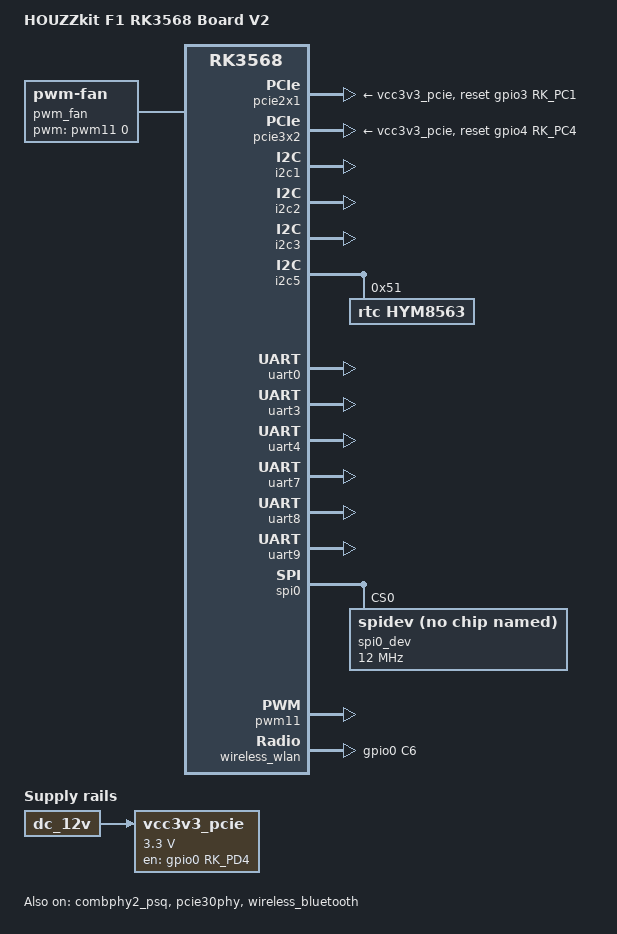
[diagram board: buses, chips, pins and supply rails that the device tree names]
// SPDX-License-Identifier: (GPL-2.0+ OR MIT)
/*
 * Copyright (c) 2020 Rockchip Electronics Co., Ltd.
 *
 */

/dts-v1/;

//rk3568-evb1-ddr4-v10
//#include "rk3568-evb1-ddr4-v10.dtsi"

#include "rk3568-evb-rpdzkj-rk809.dtsi"


#include "rk3568-linux.dtsi"

/*************************camera***********************/
#include "rp-mipi-camera-gc2093-rk3568.dtsi"
//#include "rp-mipi-camera-gc2093-imx334-imx415-rk3568.dtsi"
//#include "rp-mipi-camera-imx219-rk3568.dtsi"

/***************************************************/


/*************************adc key***********************/
#include "rp-adc-key.dtsi"
/***************************************************/

/*************************gmac***********************/
#include "rp-gmac0-pro-rk3568.dtsi"
#include "rp-gmac1-m1-pro-rk3568.dtsi"
/***************************************************/

/*************************SATA***********************/
//#include "rk3568-sata2.dtsi"
/***************************************************/


/* PCIE */
//#include "rk3568-pcie2x1.dtsi"
//#include "rk3568-pcie3x2.dtsi"

/***************** SINGLE LCD (LCD + HDMI) ****************/
//#include "rp-rk3568-single-lcd-gpio.dtsi"	// if use lcd, must enable it
/* HDMI */
#include "rp-lcd-hdmi.dtsi"

/* MIPI DSI0 */
//#include "rp-lcd-mipi0-5-720-1280.dtsi"
//#include "rp-lcd-mipi0-5-720-1280-v2.dtsi"
//#include "rp-lcd-mipi0-5-720-1280-v2-boxTP.dtsi"
//#include "rp-lcd-mipi0-5.5-720-1280.dtsi"
//#include "rp-lcd-mipi0-5.5-720-1280-v2.dtsi"
//#include "rp-lcd-mipi0-5.5-1080-1920.dtsi"
//#include "rp-lcd-mipi0-7-1024-600.dtsi"
//#include "rp-lcd-mipi0-7-1200-1920.dtsi"
//#include  "rp-lcd-mipi0-7-720-1280.dtsi"
//#include "rp-lcd-mipi0-8-800-1280-v2.dtsi"
//#include "rp-lcd-mipi0-8-800-1280-v3.dtsi"
//#include "rp-lcd-mipi0-8-1200-1920.dtsi"
//#include "rp-lcd-mipi0-10-800-1280.dtsi"
//#include "rp-lcd-mipi0-10-800-1280-v2.dtsi"
//#include "rp-lcd-mipi0-10-800-1280-v3.dtsi"
//#include "rp-lcd-mipi0-10-1920-1200.dtsi"
//#include "rp-lcd-mipi0-10-1200-1920.dtsi"

/* LVDS */
//#include "rp-lcd-lvds-7-1024-600-v2.dtsi"
//#include "rp-lcd-lvds-10-1024-600.dtsi"
//#include "rp-lcd-lvds-10-1280-800.dtsi"

/* EDP */
//#include "rp-lcd-edp-13-1920-1080.dtsi"
//#include "rp-lcd-edp-13.3-15.6-1920-1080.dtsi"

/************************ DUAL LCD *********************/
/* EDP + MIPI0 */
//#include "rp-lcd-dual-mipi0-7-1024-600-edp-13-1920-1080.dtsi"


/********************** TRIPLE LCD ********************/
/* EDP + LVDS + HDMI */
//#include "rp-lcd-triple-lvds-10-1024-600-edp-13-1920-1080-hdmi.dtsi"




/{
	model = "HOUZZkit F1 RK3568 Board V2";
	compatible = "rpdzkj,rp-rk3568-v10", "rockchip,rk3568";
	

        
        rp_power{
                status = "okay";
                compatible = "rp_power";
                rp_not_deep_sleep = <1>;

//#define GPIO_FUNCTION_OUTPUT 0
//#define GPIO_FUNCTION_INPUT 1
//#define GPIO_FUNCTION_IRQ 2
//#define GPIO_FUNCTION_FLASH 3
//#define GPIO_FUNCTION_OUTPUT_CTRL 4

/******* SYSTEM POWER **********/
                pwr_5v_3v3 {       //vdd5v vdd3v3 en
                        gpio_num = <&gpio3 RK_PB5 GPIO_ACTIVE_HIGH>;
                        gpio_function = <0>;
                };
                led {	//system led
                        gpio_num = <&gpio0 RK_PC2 GPIO_ACTIVE_HIGH>;
                        gpio_function = <4>;
                };
                fan {	//fan
                        gpio_num = <&gpio0 RK_PD6 GPIO_ACTIVE_HIGH>;
                        gpio_function = <4>;
                };
				usb_pwr {       //usb  power
                        gpio_num = <&gpio0 RK_PA6 GPIO_ACTIVE_HIGH>;
                        gpio_function = <4>;
                };
/*
                hub_rst {       //hub reset
                        gpio_num = <&gpio2 RK_PD7 GPIO_ACTIVE_HIGH>;
                        gpio_function = <4>;
                };
                otg_mode {       //OTG SWITCH, high is mean otg_id to 0, foece host mode
                        gpio_num = <&gpio2 RK_PD6 GPIO_ACTIVE_LOW>;
                        gpio_function = <4>;
                };
                otg_power {       //OTG power
                        gpio_num = <&gpio2 RK_PD4 GPIO_ACTIVE_HIGH>;
                        gpio_function = <4>;
                };
*/
                spk_en {       //spk enable
                        gpio_num = <&gpio3 RK_PA6 GPIO_ACTIVE_HIGH>;
                        gpio_function = <4>;
                };
                spk_mute {       //spk mute
                        gpio_num = <&gpio3 RK_PA3 GPIO_ACTIVE_LOW>;
                        gpio_function = <4>;
                };
			
	wifi_pwr {       //wifi_pwr
                        gpio_num = <&gpio0 RK_PA0 GPIO_ACTIVE_HIGH>;
                        gpio_function = <4>;
                };
                
        };



        rp_gpio{
                status = "okay";
                compatible = "rp_gpio";

        };
		
		
		pwm_fan: pwm-fan {
			compatible = "pwm-fan";
			#cooling-cells = <2>;
			pwms = <&pwm11 0 100000 0>;
			cooling-levels = <
				0 25 50 75 100 125
				150 175 200 225 255>;
			rockchip,temp-trips = <
				37500   1
				40000   2
				42500   3
				45000   4
				47500   5
				50000   6
				52500   7
				55000   9
				57500   9
				60000   10
			>;
		};
		
		

	
	vcc3v3_pcie: gpio-regulator {
		compatible = "regulator-fixed";
		regulator-name = "vcc3v3_pcie";
		regulator-min-microvolt = <3300000>;
		regulator-max-microvolt = <3300000>;
		enable-active-high;
		gpio = <&gpio0 RK_PD4 GPIO_ACTIVE_HIGH>;
		startup-delay-us = <5000>;
		vin-supply = <&dc_12v>;
		regulator-always-on;
		regulator-boot-on;
	};



};

/* MULTI_PHY2 For PCIe2.0 */
&combphy2_psq {
	status = "okay";
};

/* Mini PCIe */
&pcie2x1 {
	reset-gpios = <&gpio3 RK_PC1 GPIO_ACTIVE_HIGH>;
	disable-gpios = <&gpio3 RK_PC2 GPIO_ACTIVE_HIGH>;
	vpcie3v3-supply = <&vcc3v3_pcie>;
	status = "okay";
};

&pcie30phy {
	status = "okay";
};

&pcie3x2 {
	reset-gpios = <&gpio4 RK_PC4 GPIO_ACTIVE_HIGH>;
	vpcie3v3-supply = <&vcc3v3_pcie>;
	//num-lanes = <2>;
	pinctrl-0 = <&pcie30x2m2_pins>; 
	status = "okay";
};


&pmu_io_domains {
        status = "okay";
        pmuio2-supply = <&vcc3v3_pmu>;
        vccio1-supply = <&vccio_acodec>;
        vccio3-supply = <&vccio_sd>;
        vccio4-supply = <&vcc_1v8>;
        vccio5-supply = <&vcc_3v3>;
        vccio6-supply = <&vcc_1v8>;
        vccio7-supply = <&vcc_3v3>;
};


&i2c1 {
	status = "okay";
};


&i2c2 {
	status = "okay";
};
&i2c3 {
	status = "okay";
};


&i2c5 {
	status = "okay";
        rtc@51 {
                status = "okay";
                compatible = "rtc,hym8563";
                reg = <0x51>;
        };
};


&uart0 {
	status = "okay";
};
/*
&uart2 {
	status = "okay";
};
*/


&uart3 {
	status = "okay";
	pinctrl-names = "default";
	pinctrl-0 = <&uart3m1_xfer>;
};

&uart4 {
	status = "okay";
	pinctrl-names = "default";
	pinctrl-0 = <&uart4m1_xfer>;
};

&uart7 {
	status = "okay";
	pinctrl-names = "default";
	pinctrl-0 = <&uart7m1_xfer>;
};

&uart8 {
	status = "okay";
	pinctrl-names = "default";
	pinctrl-0 = <&uart8m0_xfer &uart8m0_ctsn>;
};

&uart9 {
	status = "okay";
	pinctrl-names = "default";
	pinctrl-0 = <&uart9m1_xfer>;
};


&spi0 {
	status = "okay";

    spi0_dev@0 {
        compatible = "rockchip,spidev";
        reg = <0>;
        spi-max-frequency = <12000000>;
        spi-lsb-first;
    };
};

&spi1 {
	status = "disabled";
};


/******** must be close,if not system no run ******/
&dmc {
       status = "disabled";
};

&dfi {
       status = "disabled";
};
/*********************************************/


&pwm7 {
    /****** disable for gpio used to be spi0_cs0 */
    status = "disabled";
};

&pwm11 {
    /****** disable for gpio used to be spi0_cs0 */
    status = "okay";
};



/*************************wifi bt***********************/
&wireless_wlan {
	pinctrl-names = "default";
	pinctrl-0 = <&wifi_host_wake_irq>;
	WIFI,host_wake_irq = <&gpio3 RK_PD4 GPIO_ACTIVE_HIGH>;
};


&wireless_bluetooth {
	BT,reset_gpio    = <&gpio4 RK_PC4 GPIO_ACTIVE_HIGH>;
	BT,wake_gpio     = <&gpio4 RK_PB4 GPIO_ACTIVE_HIGH>;
  	BT,wake_host_irq = <&gpio4 RK_PB5 GPIO_ACTIVE_HIGH>;
	status = "okay";
};

/******************************************************/


&rk_headset {
	pinctrl-names = "default";
	pinctrl-0 = <&hp_det>;
	headset_gpio = <&gpio3 RK_PC2 GPIO_ACTIVE_HIGH>;
};




/****** rp3568 camera configuration adjustment ******/
&vcc_camera {
        pinctrl-0 = <&camera_pwr>;
        gpio = <&gpio0 RK_PD5 GPIO_ACTIVE_HIGH>;
};

&gc2093 {
    //    pwdn-gpios = <&gpio3 RK_PC3 GPIO_ACTIVE_HIGH>;
   //     reset-gpios = <&gpio4 RK_PC3 GPIO_ACTIVE_LOW>;
	 pwdn-gpios = <&gpio3 RK_PD5 GPIO_ACTIVE_HIGH>;
};
/*
&imx334{
     pwdn-gpios = <&gpio3 RK_PC3 GPIO_ACTIVE_HIGH>;
     reset-gpios = <&gpio4 RK_PC3 GPIO_ACTIVE_HIGH>;
};

&imx415{
     pwdn-gpios = <&gpio3 RK_PC3 GPIO_ACTIVE_HIGH>;
     reset-gpios = <&gpio4 RK_PC3 GPIO_ACTIVE_LOW>;
};

&imx219{
     pwdn-gpios = <&gpio1 RK_PD4 GPIO_ACTIVE_HIGH>;
   //  reset-gpios = <&gpio4 RK_PC3 GPIO_ACTIVE_LOW>;
};
*/

#if 0
/** pcie2x1 */
/*
&vcc3v3_pcie {

    /delete-property/ gpio;
};
*/

&pcie2x1 {
	reset-gpios = <&gpio0 RK_PC6 GPIO_ACTIVE_HIGH>;
	vpcie3v3-supply = <&vcc3v3_pcie>;
	status = "okay";
};



/** pcie3x2 */
/*
&pcie3x2 {
    status = "okay";
	reset-gpios = <&gpio4 RK_PC4 GPIO_ACTIVE_HIGH>;
    vpcie3v3-supply = <&vcc3v3_pcie3>;
};
*/
/*
&vcc3v3_pcie3 {
    pinctrl-names = "default";
    pinctrl-0 = <&pcie3_3v3>;
    gpio = <&gpio0 RK_PD4 GPIO_ACTIVE_HIGH>;
    
    startup-delay-us = <8000>; //5000 is faild
};
*/

&pcie30phy {
	status = "okay";
};



&pcie3x2 {
	rockchip,bifurcation;
	reset-gpios = <&gpio4 RK_PC4 GPIO_ACTIVE_HIGH>;
	vpcie3v3-supply = <&vcc3v3_pcie>;
	pinctrl-0 = <&pcie30x2m2_pins>; 
	status = "okay";
 
};



/*
&combphy1_usq {
	status = "okay";
};
*/

&combphy2_psq {
	status = "okay";
};
#endif

&pinctrl {
	wireless-wlan {
		wifi_host_wake_irq: wifi-host-wake-irq {
			rockchip,pins = <0 RK_PC6 RK_FUNC_GPIO &pcfg_pull_down>;
		};
	};

	wireless-bluetooth {
		uart8_gpios: uart8-gpios {
			rockchip,pins = <2 RK_PB1 RK_FUNC_GPIO &pcfg_pull_none>;
		};
	};
	
	headphone {
		hp_det: hp-det {
			rockchip,pins = <4 RK_PC2 RK_FUNC_GPIO &pcfg_pull_down>;
		};
	};
	
};

	


